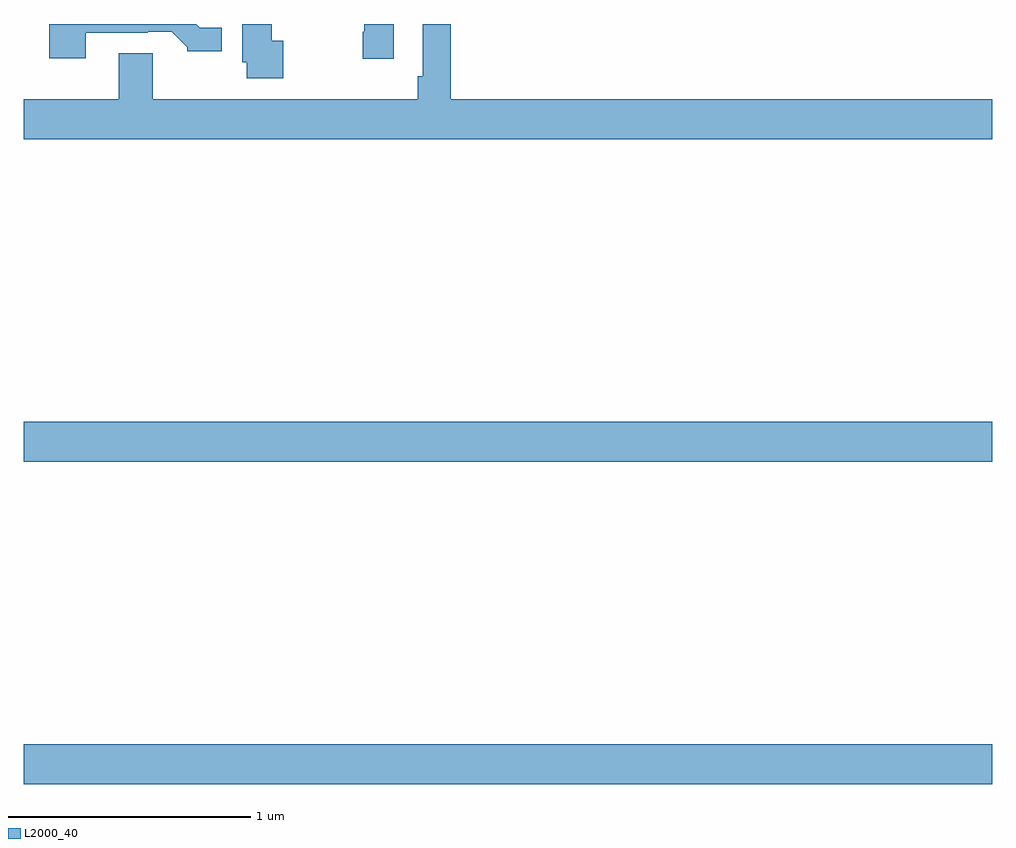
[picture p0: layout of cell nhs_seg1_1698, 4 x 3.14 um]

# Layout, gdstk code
import gdstk
lib = gdstk.Library(unit=1e-6, precision=1e-09)
def R(c, l, rs):  # rectangles x0, y0, x1, y1
    for r in rs: c.add(gdstk.rectangle(r[:2], r[2:], *l))
def P(c, l, *ps):  # polygons
    for p in ps: c.add(gdstk.Polygon(p, *l))
L2000_40 = (2000, 40)

nhs_seg1_1698 = lib.new_cell('nhs_seg1_1698')
R(nhs_seg1_1698, L2000_40, [(203,557.06,207,557.224), (203,558.392,207,558.556)])
P(nhs_seg1_1698, L2000_40, [(207,559.888),(204.764,559.888),(204.764,560.199),(204.648,560.199),(204.648,559.984),(204.628,559.984),(204.628,559.888),(203.533,559.888),(203.533,560.078),(203.393,560.078),(203.393,559.888),(203,559.888),(203,559.724),(207,559.724)],
  [(204.072,560.13),(204.025,560.13),(204.025,560.199),(203.903,560.199),(203.903,560.04),(203.92,560.04),(203.92,559.974),(204.072,559.974)],
  [(203.257,560.163),(203.513,560.163),(203.513,560.166),(203.612,560.166),(203.676,560.102),(203.676,560.087),(203.818,560.087),(203.818,560.184),(203.727,560.184),(203.712,560.199),(203.105,560.199),(203.105,560.058),(203.257,560.058)],
  [(204.529,560.199),(204.407,560.199),(204.407,560.167),(204.4,560.167),(204.4,560.055),(204.529,560.055)])

lib.write_gds('nhs_seg1_1698.gds')
